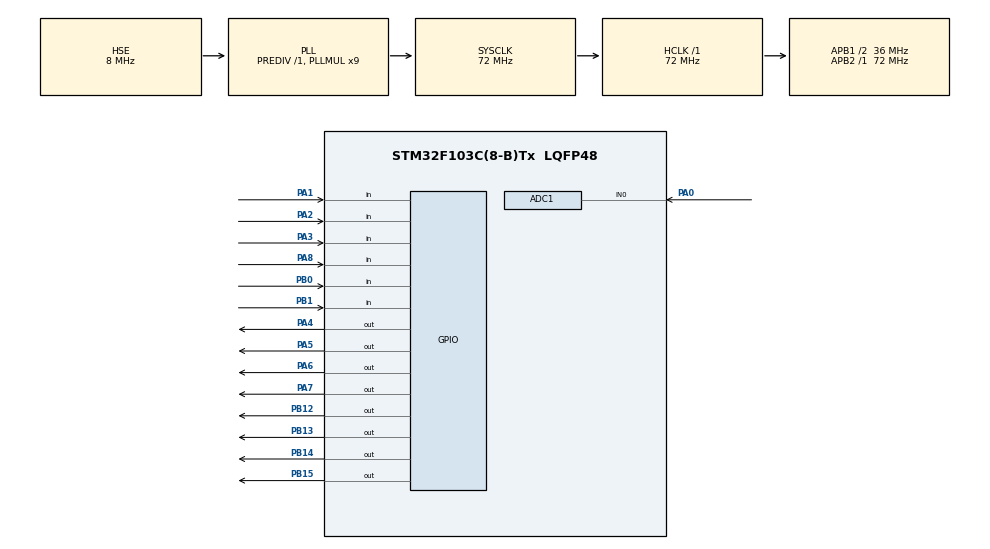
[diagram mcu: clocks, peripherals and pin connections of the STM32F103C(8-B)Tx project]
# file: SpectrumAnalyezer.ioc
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ADC1.Channel-0\#ChannelRegularConversion=ADC_CHANNEL_0
ADC1.ContinuousConvMode=ENABLE
ADC1.NbrOfConversionFlag=1
ADC1.Rank-0\#ChannelRegularConversion=1
ADC1.SamplingTime-0\#ChannelRegularConversion=ADC_SAMPLETIME_1CYCLE_5
ADC1.master=1
Mcu.Family=STM32F1
Mcu.Name=STM32F103C(8-B)Tx
Mcu.Package=LQFP48
NVIC.PriorityGroup=NVIC_PRIORITYGROUP_4
NVIC.TIM3_IRQn=true\:0\:0\:false\:false\:true\:true\:true\:true
NVIC.TIM4_IRQn=true\:0\:0\:false\:false\:true\:true\:true\:true
PA0-WKUP.Signal=ADCx_IN0
PA1.GPIO_PuPd=GPIO_PULLUP
PA1.Signal=GPIO_Input
PA13.Mode=Serial_Wire
PA13.Signal=SYS_JTMS-SWDIO
PA14.Mode=Serial_Wire
PA14.Signal=SYS_JTCK-SWCLK
PA2.GPIO_PuPd=GPIO_PULLUP
PA2.Signal=GPIO_Input
PA3.GPIO_PuPd=GPIO_PULLUP
PA3.Signal=GPIO_Input
PA4.GPIO_PuPd=GPIO_PULLUP
PA4.GPIO_Speed=GPIO_SPEED_FREQ_MEDIUM
PA4.PinState=GPIO_PIN_SET
PA4.Signal=GPIO_Output
PA5.GPIO_PuPd=GPIO_PULLUP
PA5.GPIO_Speed=GPIO_SPEED_FREQ_MEDIUM
PA5.PinState=GPIO_PIN_SET
PA5.Signal=GPIO_Output
PA6.GPIO_PuPd=GPIO_PULLUP
PA6.GPIO_Speed=GPIO_SPEED_FREQ_MEDIUM
PA6.PinState=GPIO_PIN_SET
PA6.Signal=GPIO_Output
PA7.GPIO_PuPd=GPIO_PULLUP
PA7.GPIO_Speed=GPIO_SPEED_FREQ_MEDIUM
PA7.PinState=GPIO_PIN_SET
PA7.Signal=GPIO_Output
PA8.Signal=GPIO_Input
PB0.GPIO_PuPd=GPIO_PULLUP
PB0.Signal=GPIO_Input
PB1.GPIO_PuPd=GPIO_PULLUP
PB1.Signal=GPIO_Input
PB12.GPIO_Speed=GPIO_SPEED_FREQ_HIGH
PB12.Signal=GPIO_Output
PB13.GPIO_Speed=GPIO_SPEED_FREQ_HIGH
PB13.Signal=GPIO_Output
PB14.GPIO_Speed=GPIO_SPEED_FREQ_HIGH
PB14.Signal=GPIO_Output
PB15.GPIO_Speed=GPIO_SPEED_FREQ_HIGH
PB15.Signal=GPIO_Output
PC14-OSC32_IN.Mode=LSE-External-Oscillator
PC14-OSC32_IN.Signal=RCC_OSC32_IN
PC15-OSC32_OUT.Mode=LSE-External-Oscillator
PC15-OSC32_OUT.Signal=RCC_OSC32_OUT
PD0-OSC_IN.Mode=HSE-External-Oscillator
PD0-OSC_IN.Signal=RCC_OSC_IN
PD1-OSC_OUT.Mode=HSE-External-Oscillator
PD1-OSC_OUT.Signal=RCC_OSC_OUT
ProjectManager.HeapSize=0x200
ProjectManager.StackSize=0x400
ProjectManager.TargetToolchain=STM32CubeIDE
RCC.ADCPresc=RCC_ADCPCLK2_DIV6
RCC.AHBFreq_Value=72000000
RCC.APB1CLKDivider=RCC_HCLK_DIV2
RCC.APB1Freq_Value=36000000
RCC.APB1TimFreq_Value=72000000
RCC.APB2Freq_Value=72000000
RCC.APB2TimFreq_Value=72000000
RCC.HCLKFreq_Value=72000000
RCC.PLLMUL=RCC_PLL_MUL9
RCC.PLLSourceVirtual=RCC_PLLSOURCE_HSE
RCC.SYSCLKFreq_VALUE=72000000
RCC.SYSCLKSource=RCC_SYSCLKSOURCE_PLLCLK
RCC.USBFreq_Value=72000000
SH.ADCx_IN0.0=ADC1_IN0,IN0
TIM3.AutoReloadPreload=TIM_AUTORELOAD_PRELOAD_ENABLE
TIM3.Period=999
TIM3.Prescaler=71
TIM4.AutoReloadPreload=TIM_AUTORELOAD_PRELOAD_ENABLE
TIM4.Period=99
TIM4.Prescaler=71
VP_TIM3_VS_ClockSourceINT.Mode=Internal
VP_TIM4_VS_ClockSourceINT.Mode=Internal
board=custom

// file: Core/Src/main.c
/* USER CODE BEGIN Header */
/**
  ******************************************************************************
  * @file           : main.c
  * @brief          : Main program body
  ******************************************************************************
  * @attention
  *
  * Copyright (c) 2023 STMicroelectronics.
  * All rights reserved.
  *
  * This software is licensed under terms that can be found in the LICENSE file
  * in the root directory of this software component.
  * If no LICENSE file comes with this software, it is provided AS-IS.
  *
  ******************************************************************************
  */
/* USER CODE END Header */
#include "main.h"
#include "adc.h"
#include "tim.h"
#include "gpio.h"

/* USER CODE BEGIN Includes */
#include "delay.h"
#include "ADF4351.h"
#include "lcd.h"
#include "task_manage.h"
/* USER CODE END Includes */

/* USER CODE BEGIN PTD */
extern u8 _return;

/* USER CODE END PTD */

void SystemClock_Config(void);

int main(void)
{

  /* MCU Configuration--------------------------------------------------------*/

  /* Reset of all peripherals, Initializes the Flash interface and the Systick. */
  HAL_Init();

  /* Configure the system clock */
  SystemClock_Config();

  /* USER CODE BEGIN SysInit */
  delay_init(72);
  /* USER CODE END SysInit */

  /* Initialize all configured peripherals */
  MX_GPIO_Init();
  MX_ADC1_Init();
  MX_TIM3_Init();
  MX_TIM4_Init();
  /* USER CODE BEGIN 2 */
  initial_lcd();
  LCD_Clear();

  HAL_TIM_Base_Start_IT(&htim3);//按键1MS
  HAL_TIM_Base_Start_IT(&htim4);//扫频0.1MS
  HAL_ADC_Start(&hadc1);

  LCD_Show_CEStr(0,0,"HelloWorld! O.o");
  LCD_Refresh_Gram();
  delay_ms(1000);
  LCD_Clear();
  ADF4351Init();
  ADF4351WriteFreq(80.0);

  /* USER CODE END 2 */

  /* Infinite loop */
  while (1)
  {

    /* USER CODE BEGIN 3 */

	  KeyRead();//读取按键
	  Set_PointFre(Keycode, 0);//界面交互处理
	  if(_return){_return=0;LCD_Refresh_Gram();}//更新显示
	  KEY_EXIT();	//注销键Keycode

  }
  /* USER CODE END 3 */
}

void SystemClock_Config(void)
{
  RCC_OscInitTypeDef RCC_OscInitStruct = {0};
  RCC_ClkInitTypeDef RCC_ClkInitStruct = {0};
  RCC_PeriphCLKInitTypeDef PeriphClkInit = {0};

  /** Initializes the RCC Oscillators according to the specified parameters
  * in the RCC_OscInitTypeDef structure.
  */
  RCC_OscInitStruct.OscillatorType = RCC_OSCILLATORTYPE_HSE;
  RCC_OscInitStruct.HSEState = RCC_HSE_ON;
  RCC_OscInitStruct.HSEPredivValue = RCC_HSE_PREDIV_DIV1;
  RCC_OscInitStruct.HSIState = RCC_HSI_ON;
  RCC_OscInitStruct.PLL.PLLState = RCC_PLL_ON;
  RCC_OscInitStruct.PLL.PLLSource = RCC_PLLSOURCE_HSE;
  RCC_OscInitStruct.PLL.PLLMUL = RCC_PLL_MUL9;
  if (HAL_RCC_OscConfig(&RCC_OscInitStruct) != HAL_OK)
  {
    Error_Handler();
  }

  /** Initializes the CPU, AHB and APB buses clocks
  */
  RCC_ClkInitStruct.ClockType = RCC_CLOCKTYPE_HCLK|RCC_CLOCKTYPE_SYSCLK
                              |RCC_CLOCKTYPE_PCLK1|RCC_CLOCKTYPE_PCLK2;
  RCC_ClkInitStruct.SYSCLKSource = RCC_SYSCLKSOURCE_PLLCLK;
  RCC_ClkInitStruct.AHBCLKDivider = RCC_SYSCLK_DIV1;
  RCC_ClkInitStruct.APB1CLKDivider = RCC_HCLK_DIV2;
  RCC_ClkInitStruct.APB2CLKDivider = RCC_HCLK_DIV1;

  if (HAL_RCC_ClockConfig(&RCC_ClkInitStruct, FLASH_LATENCY_2) != HAL_OK)
  {
    Error_Handler();
  }
  PeriphClkInit.PeriphClockSelection = RCC_PERIPHCLK_ADC;
  PeriphClkInit.AdcClockSelection = RCC_ADCPCLK2_DIV6;
  if (HAL_RCCEx_PeriphCLKConfig(&PeriphClkInit) != HAL_OK)
  {
    Error_Handler();
  }
}

void Error_Handler(void)
{
  __disable_irq();
  while (1)
  {
  }
}
